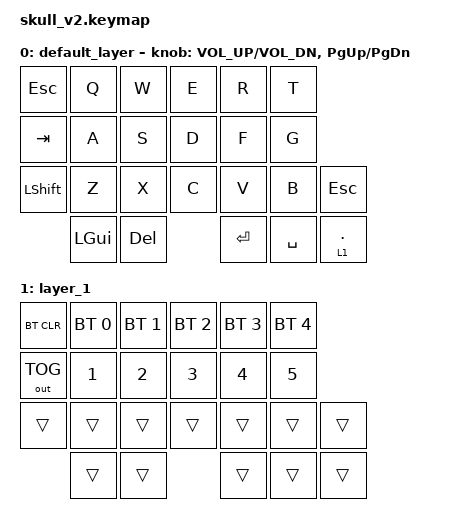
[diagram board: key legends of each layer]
#include <behaviors.dtsi>
#include <dt-bindings/zmk/keys.h>
#include <dt-bindings/zmk/bt.h>
#include <dt-bindings/zmk/outputs.h>

/ {
    keymap {
        compatible = "zmk,keymap";

        default_layer {
            bindings = <
                &kp ESC   &kp Q &kp W &kp E &kp R &kp T
                &kp TAB   &kp A &kp S &kp D &kp F &kp G
                &kp LSHFT &kp Z &kp X &kp C &kp V &kp B           &kp ESC
                          &kp LGUI &kp DEL &kp RET      &kp SPACE &lt 1 DOT
            >;
            sensor-bindings = <&inc_dec_kp C_VOL_UP C_VOL_DN &inc_dec_kp PG_UP PG_DN>;
        };

        layer_1 {
            bindings = <
                &bt BT_CLR &bt BT_SEL 0 &bt BT_SEL 1 &bt BT_SEL 2 &bt BT_SEL 3 &bt BT_SEL 4
                &out OUT_TOG &kp N1 &kp N2 &kp N3 &kp N4 &kp N5
                &trans &trans &trans &trans &trans &trans &trans
                         &trans &trans &trans &trans &trans
            >;
        };
    };
};
